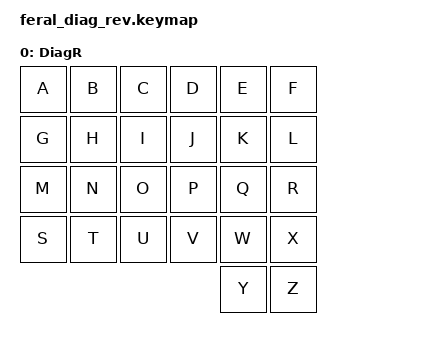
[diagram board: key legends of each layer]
#include <behaviors.dtsi>
#include <dt-bindings/zmk/keys.h>

/ {
    keymap {
        compatible = "zmk,keymap";

        diag_layer {
            display-name = "DiagR";
            bindings = <
                &kp A   &kp B   &kp C   &kp D   &kp E   &kp F
                &kp G   &kp H   &kp I   &kp J   &kp K   &kp L
                &kp M   &kp N   &kp O   &kp P   &kp Q   &kp R
                &kp S   &kp T   &kp U   &kp V   &kp W   &kp X
                                                &kp Y   &kp Z
            >;
        };
    };
};
